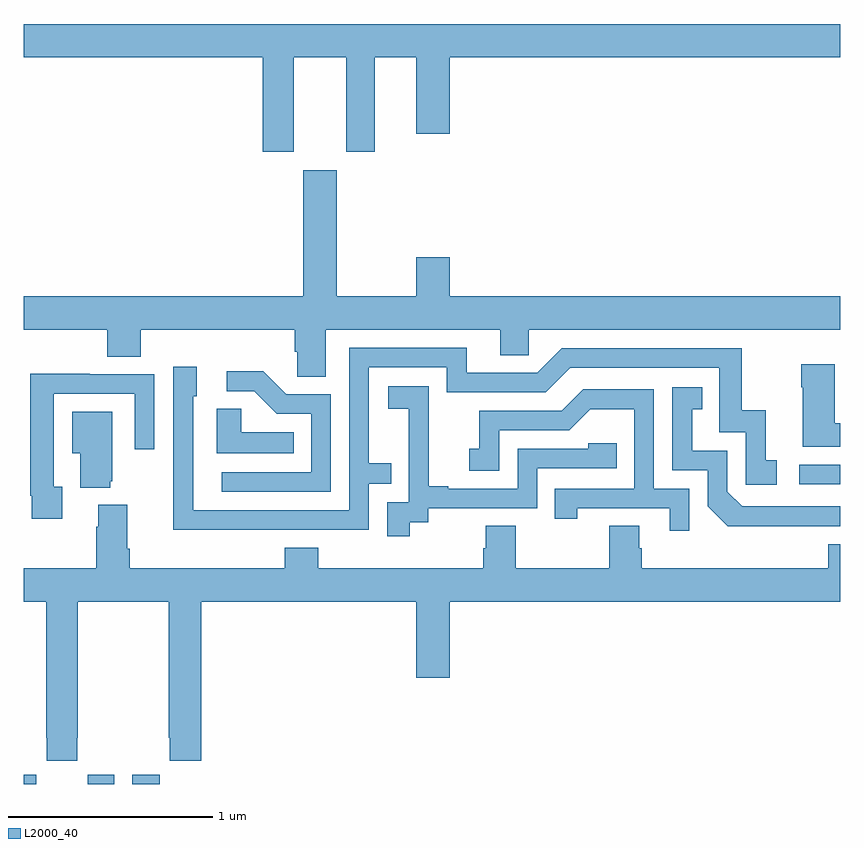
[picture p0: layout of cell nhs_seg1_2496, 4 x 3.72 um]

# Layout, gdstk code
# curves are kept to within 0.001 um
import gdstk
lib = gdstk.Library(unit=1e-6, precision=1e-09)
def R(c, l, rs):  # rectangles x0, y0, x1, y1
    for r in rs: c.add(gdstk.rectangle(r[:2], r[2:], *l))
def P(c, l, *ps):  # polygons
    for p in ps: c.add(gdstk.Polygon(p, *l))
L2000_40 = (2000, 40)

nhs_seg1_2496 = lib.new_cell('nhs_seg1_2496')
R(nhs_seg1_2496, L2000_40, [(247,524.199,247.062,524.245), (247.314,524.199,247.444,524.245), (247.532,524.199,247.666,524.245), (250.797,525.666,251,525.762)])
P(nhs_seg1_2496, L2000_40, [(248.323,527.756),(248.579,527.756),(248.579,527.295),(248.719,527.295),(248.719,527.756),(248.924,527.756),(248.924,527.382),(249.088,527.382),(249.088,527.756),(251,527.756),(251,527.92),(247,527.92),(247,527.756),(248.171,527.756),(248.171,527.295),(248.323,527.295)],
  [(248.479,526.424),(249.335,526.424),(249.335,526.297),(249.474,526.297),(249.474,526.424),(251,526.424),(251,526.588),(249.088,526.588),(249.088,526.777),(248.924,526.777),(248.924,526.588),(248.533,526.588),(248.533,527.203),(248.369,527.203),(248.369,526.588),(247,526.588),(247,526.424),(247.409,526.424),(247.409,526.291),(247.574,526.291),(247.574,526.424),(248.327,526.424),(248.327,526.315),(248.34,526.315),(248.34,526.192),(248.479,526.192)],
  [(248.195,525.444),(248.691,525.444),(248.691,525.669),(248.801,525.669),(248.801,525.77),(248.691,525.77),(248.691,526.239),(249.072,526.239),(249.072,526.116),(249.558,526.116),(249.678,526.236),(250.407,526.236),(250.407,525.921),(250.536,525.921),(250.536,525.663),(250.687,525.663),(250.687,525.783),(250.634,525.783),(250.634,526.03),(250.516,526.03),(250.516,526.332),(249.636,526.332),(249.516,526.212),(249.169,526.212),(249.169,526.335),(248.595,526.335),(248.595,525.54),(247.83,525.54),(247.83,526.098),(247.849,526.098),(247.849,526.243),(247.734,526.243),(247.734,525.749),(247.732,525.749),(247.732,525.443)],
  [(251,525.965),(250.972,525.965),(250.972,526.255),(250.807,526.255),(250.807,526.142),(250.814,526.142),(250.814,525.851),(251,525.851)],
  [(248.505,526.107),(248.286,526.107),(248.173,526.22),(247.995,526.22),(247.995,526.122),(248.129,526.122),(248.24,526.011),(248.409,526.011),(248.409,525.726),(247.971,525.726),(247.971,525.63),(248.505,525.63)],
  [(247.189,525.654),(247.149,525.654),(247.149,526.11),(247.545,526.11),(247.545,525.837),(247.641,525.837),(247.641,526.206),(247.325,526.206),(247.325,526.208),(247.033,526.208),(247.033,525.61),(247.041,525.61),(247.041,525.498),(247.189,525.498)],
  [(248.89,525.481),(248.982,525.481),(248.982,525.549),(249.516,525.549),(249.516,525.744),(249.905,525.744),(249.905,525.867),(249.765,525.867),(249.765,525.84),(249.42,525.84),(249.42,525.645),(249.079,525.645),(249.079,525.658),(248.984,525.658),(248.984,525.941),(248.985,525.941),(248.985,526.147),(248.787,526.147),(248.787,526.037),(248.885,526.037),(248.885,525.809),(248.886,525.809),(248.886,525.579),(248.781,525.579),(248.781,525.411),(248.89,525.411)],
  [(250.856,525.462),(251,525.462),(251,525.558),(250.518,525.558),(250.446,525.63),(250.446,525.831),(250.273,525.831),(250.273,526.035),(250.322,526.035),(250.322,526.141),(250.176,526.141),(250.176,525.735),(250.35,525.735),(250.35,525.558),(250.448,525.461)],
  [(250.26,525.645),(250.086,525.645),(250.086,526.131),(249.74,526.131),(249.635,526.026),(249.232,526.026),(249.232,525.841),(249.183,525.841),(249.183,525.732),(249.33,525.732),(249.33,525.93),(249.672,525.93),(249.776,526.034),(249.99,526.034),(249.99,525.645),(249.601,525.645),(249.601,525.498),(249.712,525.498),(249.712,525.549),(250.163,525.549),(250.163,525.438),(250.26,525.438)],
  [(248.324,525.922),(248.067,525.922),(248.067,526.037),(247.946,526.037),(247.946,525.818),(248.324,525.818)],
  [(247.424,525.681),(247.435,525.681),(247.435,526.021),(247.238,526.021),(247.238,525.818),(247.277,525.818),(247.277,525.65),(247.424,525.65)],
  [(247.52,525.352),(247.507,525.352),(247.507,525.565),(247.367,525.565),(247.367,525.458),(247.355,525.458),(247.355,525.256),(247,525.256),(247,525.092),(247.111,525.092),(247.111,524.425),(247.113,524.425),(247.113,524.313),(247.263,524.313),(247.263,524.425),(247.266,524.425),(247.266,525.092),(247.711,525.092),(247.711,524.425),(247.717,524.425),(247.717,524.313),(247.871,524.313),(247.871,525.092),(248.924,525.092),(248.924,524.718),(249.088,524.718),(249.088,525.092),(251,525.092),(251,525.373),(250.94,525.373),(250.94,525.256),(250.028,525.256),(250.028,525.354),(250.015,525.354),(250.015,525.464),(249.868,525.464),(249.868,525.256),(249.411,525.256),(249.411,525.464),(249.263,525.464),(249.263,525.354),(249.251,525.354),(249.251,525.256),(248.444,525.256),(248.444,525.355),(248.279,525.355),(248.279,525.256),(247.52,525.256)])

lib.write_gds('nhs_seg1_2496.gds')
